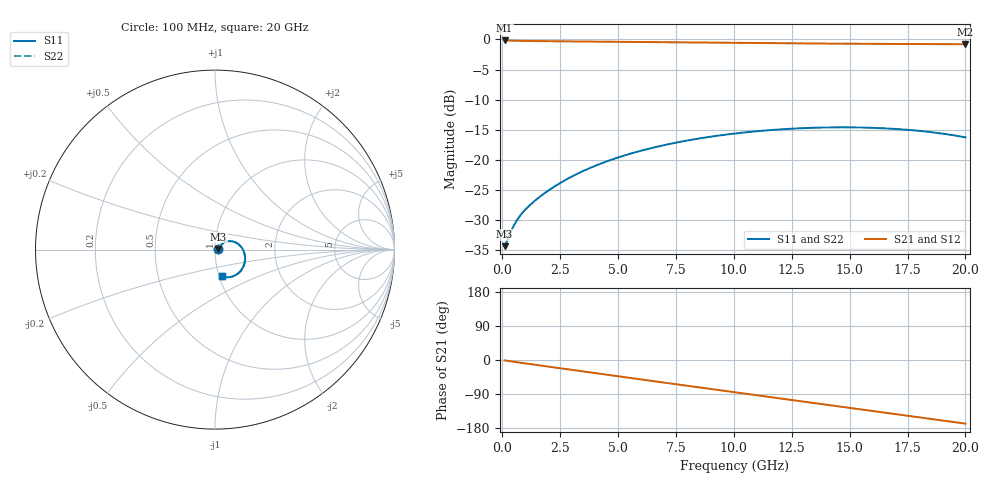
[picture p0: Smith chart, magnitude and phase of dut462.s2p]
! Touchstone file exported from HFSS 2026.1.0
!  File:  C:/ffzhzh/LocalFiles/Ansys_Project_Files/temp_train_TSV_RDL_462_1783101405_50312.aedt
!  Generated:  02:09:28 AM Jul  4, 2026
!  Design:  TSV_RDL
!  Project:  temp_train_TSV_RDL_462_1783101405_50312
! Variables:
!  h_bsmrdl = 2.79um
!  h_ox = 20um
!  h_rdl = 5um
!  h_sub = 88.29um
!  h_tmrdl = 2.33um
!  h_tsv = 88.29um
!  h_via = 3um
!  l_bsmrdl = 212.56um
!  l_sub = 2428.62um
!  l_tmrdl = 318.14um
!  m_sub = 200um
!  pitch = 29.1um
!  r_tsv = 4.22um
!  s_tmrdl = 10um
!  w_bsmrdl = 12.1um
!  w_sub = 500um
!  w_tmrdl = 27.36um
!  x_tsv_center1 = 331.82um
!  x_tsv_center2 = 556.48um
!  x_tsv_center3 = 901.98um
!  x_tsv_center4 = 1126.64um
!  x_tsv_center5 = 1472.14um
!  x_tsv_center6 = 1696.8um
# GHz S MA R 50.000000
! Terminal data exported
! Port[1] = TM_RDL1_1_T1
! Port[2] = TM_RDL5_1_T1
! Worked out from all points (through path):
!   200 points, 100 MHz to 20 GHz, reference 50 ohm
!   highest |S21| = -0.16 dB at 100 MHz (marker M1); lowest = -0.8 dB at 20 GHz (marker M2)
!   group delay of S21, straight-line fit = 23.2 ps
!   lowest |S11| = -34.4 dB at 100 MHz (marker M3), VSWR 1.04, Z = 51.9 + j0.381 ohm
!   |S11| at or under -10 dB: start of sweep to end of sweep
!   |S22| runs from -34.4 to -14.6 dB; largest |S21 - S12| = 4.2e-14
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0.1  0.01907 11.1  0.9813 -1.0  0.9813 -1.0  0.01907 11.1
! Gamma 0 0 0 0
! Port Impedance 50 0 50 0
0.4  0.02583 29.4  0.9783 -3.8  0.9783 -3.8  0.02583 29.4
0.6  0.03063 33.2  0.9759 -5.6  0.9759 -5.6  0.03063 33.2
0.8  0.03479 35.0  0.9739 -7.3  0.9739 -7.3  0.03479 35.0
1.1  0.04028 36.6  0.9717 -9.9  0.9717 -9.9  0.04028 36.6
1.6  0.04877 38.1  0.9691 -14.1  0.9691 -14.1  0.04878 38.1
2.2  0.05888 38.3  0.9666 -19.2  0.9666 -19.2  0.05889 38.3
3.5  0.08058 34.5  0.9616 -30.3  0.9616 -30.3  0.08059 34.5
5.2  0.1072 25.4  0.9551 -44.6  0.9551 -44.6  0.1072 25.4
6.8  0.1297 15.3  0.9489 -58.1  0.9489 -58.1  0.1297 15.3
7.7  0.1409 9.2  0.9454 -65.6  0.9454 -65.6  0.141 9.2
8.5  0.1501 3.7  0.9424 -72.3  0.9424 -72.3  0.1501 3.7
9.3  0.1583 -1.9  0.9394 -79.0  0.9394 -79.0  0.1583 -1.9
10.1  0.1655 -7.5  0.9365 -85.7  0.9365 -85.7  0.1655 -7.5
10.9  0.1718 -13.1  0.9336 -92.3  0.9336 -92.3  0.1718 -13.1
11.7  0.1769 -18.8  0.9309 -98.9  0.9309 -98.9  0.1769 -18.8
12.5  0.181 -24.4  0.9284 -105.6  0.9284 -105.6  0.181 -24.4
13.4  0.1841 -30.7  0.9257 -113.0  0.9257 -113.0  0.1841 -30.7
15  0.1857 -41.7  0.9215 -126.3  0.9215 -126.3  0.1857 -41.8
16.7  0.1815 -53.3  0.9179 -140.4  0.9179 -140.4  0.1815 -53.4
18.4  0.1704 -64.5  0.9152 -154.5  0.9152 -154.5  0.1704 -64.6
20  0.1534 -74.5  0.9132 -167.9  0.9132 -167.9  0.1534 -74.6
